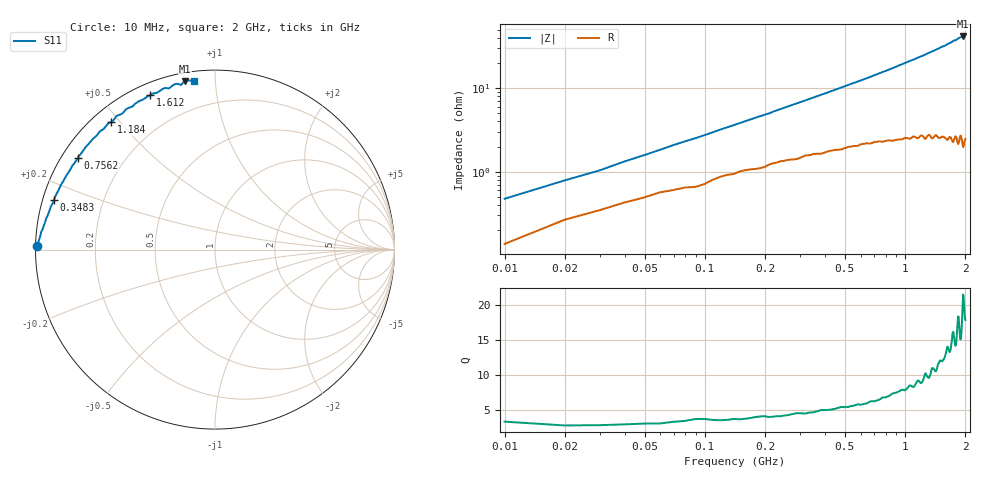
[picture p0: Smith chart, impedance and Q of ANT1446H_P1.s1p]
!Created with skrf (http://scikit-rf.org).
# Hz S RI R 50.0
!freq ReS11 ImS11
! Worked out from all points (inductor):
!   201 points, 10 MHz to 2 GHz, reference 50 ohm
!   read as one part to ground: L = 5.22 nH near 19.95 MHz
!   highest Q = 20.3 at 1.94 GHz (marker M1), where L = 3.43 nH
!   S11 on the Smith chart (normalised r, x): 10 MHz: 0.00, +0.01; 348.3 MHz: 0.03, +0.15; 756.2 MHz: 0.05, +0.30; 1.184 GHz: 0.05, +0.47; 1.612 GHz: 0.05, +0.66; 2 GHz: 0.05, +0.88
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1e7  -0.9944 0.0181
8.96e7  -0.9695 0.0946
2.5875e8  -0.9209 0.2201
3.483e8  -0.8961 0.2783
5.075e8  -0.8496 0.375
7.5625e8  -0.7633 0.5115
1.005e9  -0.6623 0.6334
1.1045e9  -0.6184 0.6744
1.15425e9  -0.5952 0.7019
1.1841e9  -0.5798 0.7107
1.25375e9  -0.5518 0.7402
1.31345e9  -0.5151 0.7588
1.3632e9  -0.4954 0.7823
1.41295e9  -0.4647 0.7956
1.4627e9  -0.4446 0.8136
1.5025e9  -0.4172 0.8292
1.57215e9  -0.3874 0.8449
1.61195e9  -0.3618 0.8612
1.6816e9  -0.321 0.8757
1.73135e9  -0.2849 0.8984
1.75125e9  -0.272 0.9001
1.79105e9  -0.2551 0.8992
1.85075e9  -0.2131 0.9236
1.87065e9  -0.1981 0.9211
1.9005e9  -0.1867 0.9191
1.9403e9  -0.1678 0.9377
1.97015e9  -0.1376 0.9415
2e9  -0.1186 0.9384
